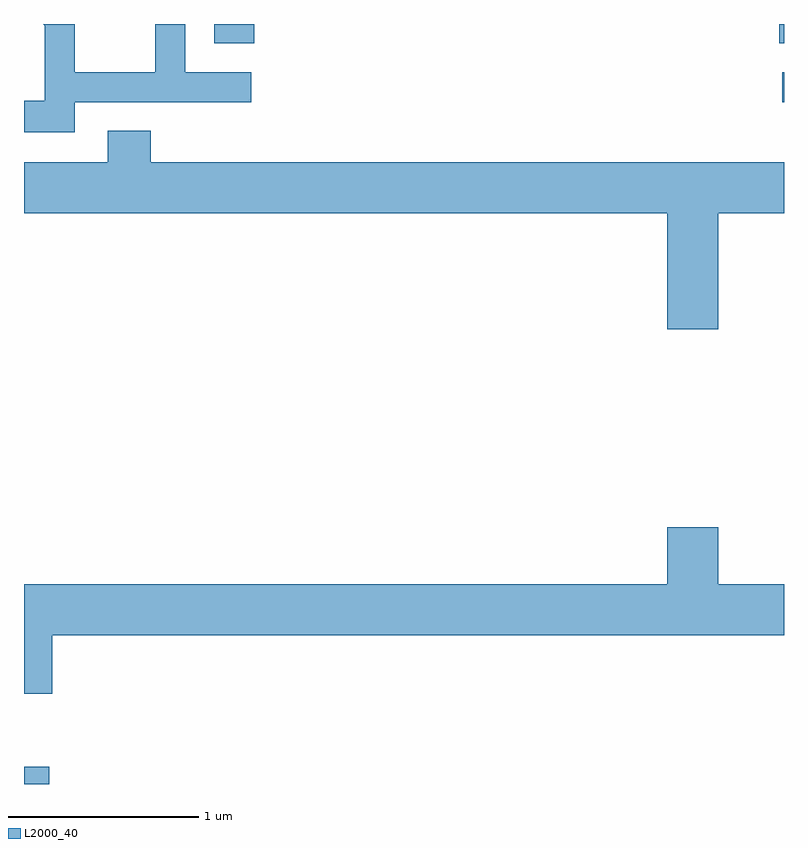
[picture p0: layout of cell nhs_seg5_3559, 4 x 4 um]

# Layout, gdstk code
import gdstk
lib = gdstk.Library(unit=1e-6, precision=1e-09)
def R(c, l, rs):  # rectangles x0, y0, x1, y1
    for r in rs: c.add(gdstk.rectangle(r[:2], r[2:], *l))
def P(c, l, *ps):  # polygons
    for p in ps: c.add(gdstk.Polygon(p, *l))
L2000_40 = (2000, 40)

nhs_seg5_3559 = lib.new_cell('nhs_seg5_3559')
R(nhs_seg5_3559, L2000_40, [(291.611,1396.072,291.744,1396.164), (295.603,1399.661,295.611,1399.819), (292.611,1399.971,292.824,1400.072), (295.586,1399.971,295.611,1400.072)])
P(nhs_seg5_3559, L2000_40, [(291.879,1399.661),(292.808,1399.661),(292.808,1399.819),(292.459,1399.819),(292.459,1400.072),(292.301,1400.072),(292.301,1399.819),(291.879,1399.819),(291.879,1400.072),(291.713,1400.072),(291.721,1400.064),(291.721,1399.669),(291.611,1399.669),(291.611,1399.501),(291.879,1399.501)],
  [(295.264,1399.076),(295.611,1399.076),(295.611,1399.344),(292.279,1399.344),(292.279,1399.509),(292.051,1399.509),(292.051,1399.344),(291.611,1399.344),(291.611,1399.076),(294.996,1399.076),(294.996,1398.466),(295.264,1398.466)],
  [(291.759,1396.856),(295.611,1396.856),(295.611,1397.124),(295.264,1397.124),(295.264,1397.424),(294.996,1397.424),(294.996,1397.124),(291.611,1397.124),(291.611,1396.546),(291.759,1396.546)])

lib.write_gds('nhs_seg5_3559.gds')
